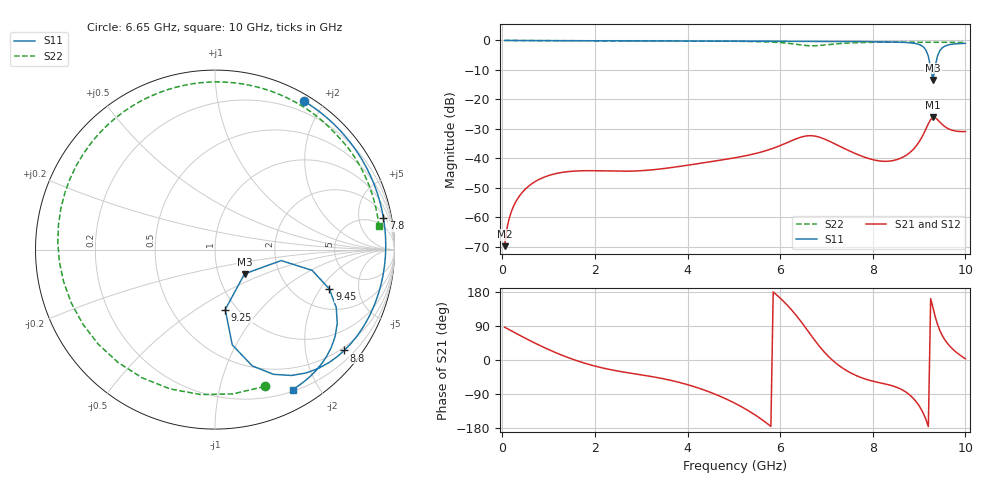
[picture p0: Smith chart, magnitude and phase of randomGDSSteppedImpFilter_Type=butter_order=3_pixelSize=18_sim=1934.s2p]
! freq	dB(S11)	phase(S11)	dB(S12)	phase(S12)
!  dB(S21)	phase(S21)	dB(S22)	phase(S22)
!S-par simulation data
#  GHz  S  DB  R 50
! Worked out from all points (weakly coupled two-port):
!   200 points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, 50 MHz to 10 GHz, reference 50 ohm
!   highest |S21| = -26.10 dB at 9.3 GHz (marker M1); lowest = -69.7 dB at 50 MHz (marker M2)
!   lowest |S11| = -13.4 dB at 9.3 GHz (marker M3), VSWR 1.54, Z = 66.7 - j18.9 ohm
!   |S11| at or under -10 dB: 9.257 GHz to 9.335 GHz (77.69 MHz wide, 0.836 % of centre)
!   |S22| runs from -1.8 to 0.0 dB; largest |S21 - S12| = 0
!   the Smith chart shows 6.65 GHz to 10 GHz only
!   S11 on the Smith chart (normalised r, x): 6.65 GHz: 0.07, +1.77; 7.8 GHz: 3, +10; 8.8 GHz: 0.42, -2.85; 9.25 GHz: 0.88, -0.67; 9.45 GHz: 3.04, -2.44; 10 GHz: 0.22, -1.68
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0.05  -0.00 -3.4  -69.73 86.6  -69.73 86.6  -0.00 -3.3
0.2  -0.02 -13.5  -57.83 76.6  -57.83 76.6  -0.02 -13.2
0.5  -0.04 -33.3  -50.36 57.3  -50.36 57.3  -0.04 -32.6
1.1  -0.08 -70.5  -45.34 22.2  -45.34 22.2  -0.08 -68.7
1.75  -0.11 -105.7  -44.16 -7.3  -44.16 -7.3  -0.11 -102.9
2.55  -0.14 -142.7  -44.33 -30.4  -44.33 -30.4  -0.13 -138.5
3.4  -0.16 -176.9  -43.59 -47.6  -43.59 -47.6  -0.16 -171.7
5.05  -0.23 121.5  -39.69 -115.8  -39.69 -115.8  -0.29 121.4
5.95  -0.27 87.0  -35.95 168.9  -35.95 168.9  -0.67 58.8
6.35  -0.30 71.1  -33.32 117.2  -33.32 117.2  -1.30 0.3
6.65  -0.31 58.9  -32.28 68.1  -32.28 68.1  -1.82 -70.0
6.7  -0.31 56.9  -32.32 59.8  -32.32 59.8  -1.83 -82.9
6.9  -0.33 48.6  -33.07 28.4  -33.07 28.4  -1.63 -130.7
7.1  -0.34 40.3  -34.43 2.7  -34.43 2.7  -1.29 -167.9
7.8  -0.40 10.5  -39.44 -48.6  -39.44 -48.6  -0.69 119.7
8.35  -0.50 -14.1  -40.92 -65.6  -40.92 -65.6  -0.58 86.1
8.8  -0.79 -38.0  -38.00 -92.5  -38.00 -92.5  -0.57 63.2
9.1  -2.30 -64.9  -31.58 -143.0  -31.58 -143.0  -0.60 48.9
9.25  -9.40 -80.3  -26.83 162.0  -26.83 162.0  -0.62 42.1
9.3  -13.43 -39.4  -26.10 137.2  -26.10 137.2  -0.61 39.9
9.45  -3.43 -19.0  -27.71 77.5  -27.71 77.5  -0.60 33.0
10  -0.99 -60.9  -30.89 3.3  -30.89 3.3  -0.70 8.4
